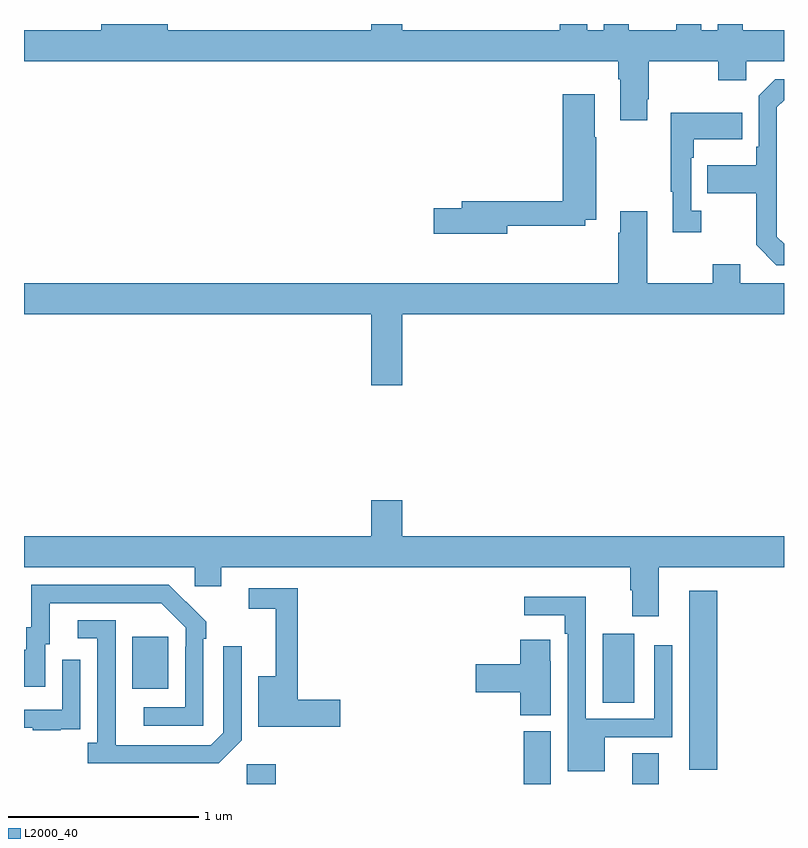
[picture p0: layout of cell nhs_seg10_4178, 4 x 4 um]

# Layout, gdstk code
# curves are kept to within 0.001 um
import gdstk
lib = gdstk.Library(unit=1e-6, precision=1e-09)
def R(c, l, rs):  # rectangles x0, y0, x1, y1
    for r in rs: c.add(gdstk.rectangle(r[:2], r[2:], *l))
def P(c, l, *ps):  # polygons
    for p in ps: c.add(gdstk.Polygon(p, *l))
L2000_40 = (2000, 40)

nhs_seg10_4178 = lib.new_cell('nhs_seg10_4178')
R(nhs_seg10_4178, L2000_40, [(344.172,1308.5,344.324,1308.604), (345.629,1308.5,345.772,1308.777), (346.202,1308.5,346.342,1308.662), (346.502,1308.576,346.649,1309.516), (346.046,1308.928,346.213,1309.291), (343.571,1309.001,343.759,1309.276)])
P(nhs_seg10_4178, L2000_40, [(346.279,1312.105),(346.287,1312.105),(346.287,1312.304),(346.654,1312.304),(346.654,1312.205),(346.8,1312.205),(346.8,1312.304),(347,1312.304),(347,1312.468),(346.783,1312.468),(346.783,1312.5),(346.652,1312.5),(346.652,1312.468),(346.564,1312.468),(346.564,1312.5),(346.433,1312.5),(346.433,1312.468),(346.183,1312.468),(346.183,1312.5),(346.052,1312.5),(346.052,1312.468),(345.964,1312.468),(345.964,1312.5),(345.821,1312.5),(345.821,1312.468),(344.992,1312.468),(344.992,1312.5),(344.828,1312.5),(344.828,1312.468),(343.756,1312.468),(343.756,1312.5),(343.406,1312.5),(343.406,1312.468),(343,1312.468),(343,1312.304),(346.127,1312.304),(346.127,1312.208),(346.139,1312.208),(346.139,1311.993),(346.279,1311.993)],
  [(347,1311.343),(346.962,1311.381),(346.962,1312.062),(347,1312.1),(347,1312.209),(346.953,1312.209),(346.866,1312.122),(346.866,1311.853),(346.854,1311.853),(346.854,1311.757),(346.597,1311.757),(346.597,1311.61),(346.854,1311.61),(346.854,1311.337),(346.959,1311.231),(347,1311.231)],
  [(345.544,1311.438),(345.954,1311.438),(345.954,1311.47),(346.011,1311.47),(346.011,1311.905),(346.003,1311.905),(346.003,1312.129),(345.836,1312.129),(345.836,1311.566),(345.305,1311.566),(345.305,1311.53),(345.156,1311.53),(345.156,1311.395),(345.544,1311.395)],
  [(346.564,1311.518),(346.512,1311.518),(346.512,1311.797),(346.525,1311.797),(346.525,1311.893),(346.781,1311.893),(346.781,1312.033),(346.404,1312.033),(346.404,1311.617),(346.415,1311.617),(346.415,1311.405),(346.564,1311.405)],
  [(344.992,1310.972),(347,1310.972),(347,1311.136),(346.771,1311.136),(346.771,1311.235),(346.624,1311.235),(346.624,1311.136),(346.279,1311.136),(346.279,1311.514),(346.139,1311.514),(346.139,1311.401),(346.127,1311.401),(346.127,1311.136),(343,1311.136),(343,1310.972),(344.828,1310.972),(344.828,1310.598),(344.992,1310.598)],
  [(346.342,1309.64),(347,1309.64),(347,1309.804),(344.992,1309.804),(344.992,1309.993),(344.828,1309.993),(344.828,1309.804),(343,1309.804),(343,1309.64),(343.899,1309.64),(343.899,1309.542),(344.038,1309.542),(344.038,1309.64),(346.19,1309.64),(346.19,1309.52),(346.202,1309.52),(346.202,1309.383),(346.342,1309.383)],
  [(343.944,1309.265),(343.959,1309.265),(343.959,1309.353),(343.762,1309.548),(343.038,1309.548),(343.038,1309.326),(343.013,1309.326),(343.013,1309.207),(343,1309.207),(343,1309.011),(343.111,1309.011),(343.111,1309.236),(343.135,1309.236),(343.135,1309.452),(343.723,1309.452),(343.851,1309.323),(343.851,1309.223),(343.848,1309.223),(343.848,1308.903),(343.629,1308.903),(343.629,1308.807),(343.944,1308.807)],
  [(344.665,1308.944),(344.441,1308.944),(344.441,1309.53),(344.184,1309.53),(344.184,1309.422),(344.324,1309.422),(344.324,1309.066),(344.234,1309.066),(344.234,1308.802),(344.665,1308.802)],
  [(346.057,1308.747),(346.413,1308.747),(346.413,1309.231),(346.317,1309.231),(346.317,1308.843),(345.957,1308.843),(345.957,1309.486),(345.633,1309.486),(345.633,1309.388),(345.845,1309.388),(345.845,1309.292),(345.861,1309.292),(345.861,1308.566),(346.057,1308.566)],
  [(344.145,1308.729),(344.145,1309.225),(344.049,1309.225),(344.049,1308.771),(343.983,1308.705),(343.483,1308.705),(343.482,1309.362),(343.284,1309.362),(343.284,1309.266),(343.386,1309.266),(343.386,1308.718),(343.335,1308.718),(343.335,1308.608),(344.024,1308.608)],
  [(345.772,1309.145),(345.771,1309.145),(345.771,1309.258),(345.611,1309.258),(345.611,1309.13),(345.378,1309.13),(345.378,1308.983),(345.611,1308.983),(345.611,1308.862),(345.772,1308.862)],
  [(343.193,1308.789),(343.295,1308.789),(343.295,1308.898),(343.296,1308.898),(343.296,1309.153),(343.2,1309.153),(343.2,1308.891),(343,1308.891),(343,1308.795),(343.045,1308.795),(343.045,1308.783),(343.193,1308.783)])

lib.write_gds('nhs_seg10_4178.gds')
